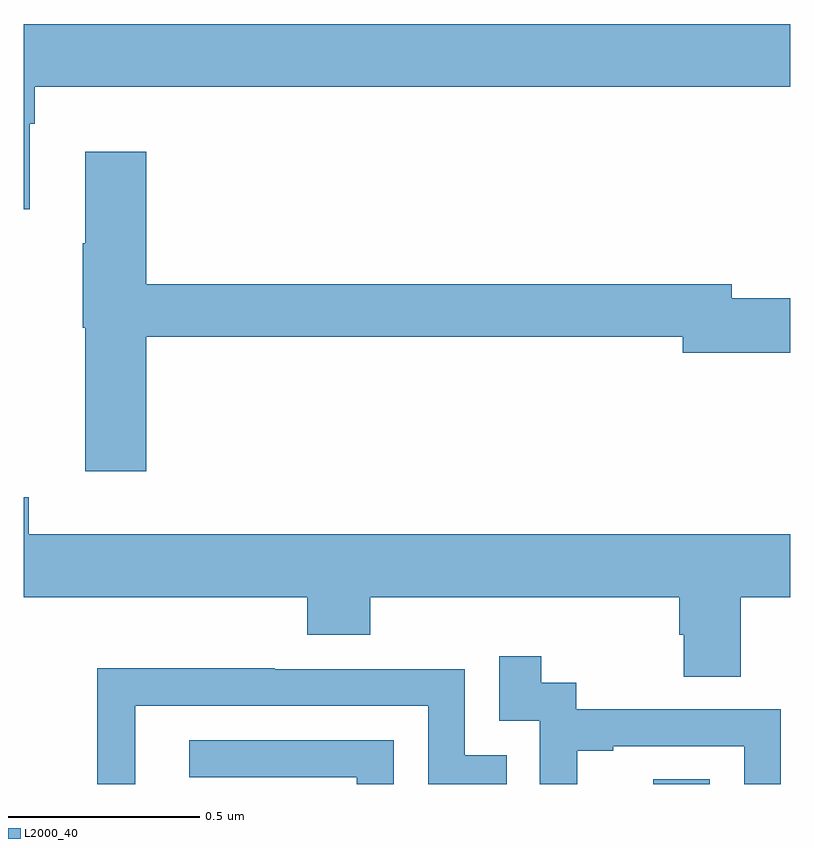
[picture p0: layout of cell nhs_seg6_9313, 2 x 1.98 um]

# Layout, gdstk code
import gdstk
lib = gdstk.Library(unit=1e-6, precision=1e-09)
def R(c, l, rs):  # rectangles x0, y0, x1, y1
    for r in rs: c.add(gdstk.rectangle(r[:2], r[2:], *l))
def P(c, l, *ps):  # polygons
    for p in ps: c.add(gdstk.Polygon(p, *l))
L2000_40 = (2000, 40)

nhs_seg6_9313 = lib.new_cell('nhs_seg6_9313')
R(nhs_seg6_9313, L2000_40, [(233.643,961.5,233.79,961.513)])
P(nhs_seg6_9313, L2000_40, [(232.015,963.224),(232.028,963.224),(232.028,963.32),(234,963.32),(234,963.484),(232,963.484),(232,963),(232.015,963)],
  [(232.319,962.668),(233.72,962.668),(233.72,962.626),(234,962.626),(234,962.768),(233.848,962.768),(233.848,962.804),(232.319,962.804),(232.319,963.151),(232.16,963.151),(232.16,962.912),(232.153,962.912),(232.153,962.691),(232.16,962.691),(232.16,962.316),(232.319,962.316)],
  [(233.871,961.988),(234,961.988),(234,962.152),(232.013,962.152),(232.013,962.248),(232,962.248),(232,961.988),(232.739,961.988),(232.739,961.889),(232.904,961.889),(232.904,961.988),(233.711,961.988),(233.711,961.89),(233.723,961.89),(233.723,961.78),(233.871,961.78)],
  [(233.444,961.587),(233.539,961.587),(233.539,961.599),(233.88,961.599),(233.88,961.5),(233.976,961.5),(233.976,961.695),(233.442,961.695),(233.442,961.764),(233.35,961.764),(233.35,961.834),(233.241,961.834),(233.241,961.665),(233.346,961.665),(233.346,961.5),(233.444,961.5)],
  [(232.29,961.704),(233.055,961.704),(233.055,961.5),(233.261,961.5),(233.261,961.575),(233.151,961.575),(233.151,961.8),(232.655,961.8),(232.655,961.802),(232.192,961.802),(232.192,961.5),(232.29,961.5)],
  [(232.965,961.614),(232.431,961.614),(232.431,961.518),(232.869,961.518),(232.869,961.5),(232.965,961.5)])

lib.write_gds('nhs_seg6_9313.gds')
